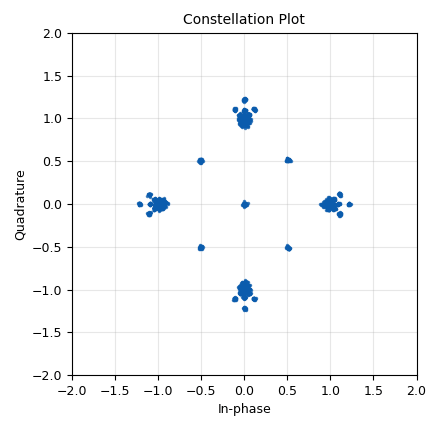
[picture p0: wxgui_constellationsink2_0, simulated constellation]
<?xml version='1.0' encoding='utf-8'?>
<flow_graph>
<block>
<key>options</key>
<param><key>id</key><value>top_block</value></param>
<param><key>generate_options</key><value>wx_gui</value></param>
<param><key>category</key><value>Custom</value></param>
</block>
<block>
<key>variable</key>
<param><key>id</key><value>samp_rate</value></param>
<param><key>value</key><value>32000</value></param>
</block>
<block>
<key>blocks_file_sink</key>
<param><key>id</key><value>blocks_file_sink_1</value></param>
<param><key>_enabled</key><value>False</value></param>
<param><key>file</key><value>/home/kaushik/src/gr-tutorial/gr-demod/qpsk_demod_source.dat</value></param>
<param><key>type</key><value>byte</value></param>
<param><key>unbuffered</key><value>True</value></param>
</block>
<block>
<key>blocks_head</key>
<param><key>id</key><value>blocks_head_0_0</value></param>
<param><key>_enabled</key><value>False</value></param>
<param><key>type</key><value>byte</value></param>
<param><key>num_items</key><value>100</value></param>
</block>
<block>
<key>variable_slider</key>
<param><key>id</key><value>noise_amplitude</value></param>
<param><key>label</key><value></value></param>
<param><key>value</key><value>.01</value></param>
<param><key>min</key><value>0</value></param>
<param><key>max</key><value>1</value></param>
<param><key>num_steps</key><value>100</value></param>
<param><key>style</key><value>wx.SL_HORIZONTAL</value></param>
<param><key>converver</key><value>float_converter</value></param>
</block>
<block>
<key>blocks_file_sink</key>
<param><key>id</key><value>blocks_file_sink_0_0</value></param>
<param><key>_enabled</key><value>False</value></param>
<param><key>file</key><value>/home/kaushik/src/gr-tutorial/gr-demod/qpsk_demod_iq.dat</value></param>
<param><key>type</key><value>complex</value></param>
<param><key>unbuffered</key><value>True</value></param>
</block>
<block>
<key>blocks_head</key>
<param><key>id</key><value>blocks_head_1</value></param>
<param><key>_enabled</key><value>False</value></param>
<param><key>type</key><value>complex</value></param>
<param><key>num_items</key><value>10000</value></param>
</block>
<block>
<key>digital_psk_mod</key>
<param><key>id</key><value>digital_psk_mod_0</value></param>
<param><key>constellation_points</key><value>4</value></param>
<param><key>mod_code</key><value>"gray"</value></param>
<param><key>differential</key><value>True</value></param>
<param><key>samples_per_symbol</key><value>2</value></param>
<param><key>excess_bw</key><value>.35</value></param>
</block>
<block>
<key>analog_noise_source_x</key>
<param><key>id</key><value>analog_noise_source_x_0</value></param>
<param><key>type</key><value>complex</value></param>
<param><key>noise_type</key><value>analog.GR_GAUSSIAN</value></param>
<param><key>amp</key><value>noise_amplitude</value></param>
<param><key>seed</key><value>0</value></param>
</block>
<block>
<key>blocks_throttle</key>
<param><key>id</key><value>blocks_throttle_0</value></param>
<param><key>type</key><value>complex</value></param>
<param><key>samples_per_second</key><value>samp_rate</value></param>
</block>
<block>
<key>analog_random_source_x</key>
<param><key>id</key><value>analog_random_source_x_0</value></param>
<param><key>type</key><value>byte</value></param>
<param><key>min</key><value>0</value></param>
<param><key>max</key><value>4</value></param>
<param><key>num_samps</key><value>10000</value></param>
<param><key>repeat</key><value>True</value></param>
</block>
<block>
<key>wxgui_constellationsink2</key>
<param><key>id</key><value>wxgui_constellationsink2_0</value></param>
<param><key>title</key><value>Constellation Plot</value></param>
<param><key>samp_rate</key><value>samp_rate</value></param>
<param><key>frame_rate</key><value>5</value></param>
<param><key>const_size</key><value>2048</value></param>
<param><key>M</key><value>4</value></param>
<param><key>theta</key><value>0</value></param>
<param><key>loop_bw</key><value>6.28/100.0</value></param>
<param><key>fmax</key><value>0.06</value></param>
<param><key>mu</key><value>0.5</value></param>
<param><key>gain_mu</key><value>0.005</value></param>
<param><key>symbol_rate</key><value>samp_rate/2.</value></param>
<param><key>omega_limit</key><value>0.005</value></param>
</block>
<block>
<key>blocks_file_sink</key>
<param><key>id</key><value>blocks_file_sink_0</value></param>
<param><key>file</key><value>/home/kaushik/src/gr-tutorial/grc/qpsk_demod_sink.dat</value></param>
<param><key>type</key><value>byte</value></param>
<param><key>unbuffered</key><value>True</value></param>
</block>
<block>
<key>blocks_add_xx</key>
<param><key>id</key><value>blocks_add_xx_0</value></param>
<param><key>type</key><value>complex</value></param>
</block>
<block>
<key>blocks_head</key>
<param><key>id</key><value>blocks_head_0</value></param>
<param><key>type</key><value>byte</value></param>
<param><key>num_items</key><value>100</value></param>
</block>
<block>
<key>tutorial_my_qpsk_demod_cb</key>
<param><key>id</key><value>tutorial_my_qpsk_demod_cb_0</value></param>
<param><key>Gray_code</key><value>True</value></param>
<param><key>differential_coding</key><value>True</value></param>
</block>
<connection><source_block_id>digital_psk_mod_0</source_block_id><sink_block_id>blocks_add_xx_0</sink_block_id><source_key>0</source_key><sink_key>0</sink_key></connection>
<connection><source_block_id>blocks_head_0</source_block_id><sink_block_id>blocks_file_sink_0</sink_block_id><source_key>0</source_key><sink_key>0</sink_key></connection>
<connection><source_block_id>analog_noise_source_x_0</source_block_id><sink_block_id>blocks_add_xx_0</sink_block_id><source_key>0</source_key><sink_key>1</sink_key></connection>
<connection><source_block_id>analog_random_source_x_0</source_block_id><sink_block_id>digital_psk_mod_0</sink_block_id><source_key>0</source_key><sink_key>0</sink_key></connection>
<connection><source_block_id>analog_random_source_x_0</source_block_id><sink_block_id>blocks_head_0_0</sink_block_id><source_key>0</source_key><sink_key>0</sink_key></connection>
<connection><source_block_id>blocks_head_0_0</source_block_id><sink_block_id>blocks_file_sink_1</sink_block_id><source_key>0</source_key><sink_key>0</sink_key></connection>
<connection><source_block_id>blocks_throttle_0</source_block_id><sink_block_id>wxgui_constellationsink2_0</sink_block_id><source_key>0</source_key><sink_key>0</sink_key></connection>
<connection><source_block_id>digital_psk_mod_0</source_block_id><sink_block_id>blocks_head_1</sink_block_id><source_key>0</source_key><sink_key>0</sink_key></connection>
<connection><source_block_id>blocks_head_1</source_block_id><sink_block_id>blocks_file_sink_0_0</sink_block_id><source_key>0</source_key><sink_key>0</sink_key></connection>
<connection><source_block_id>blocks_add_xx_0</source_block_id><sink_block_id>blocks_throttle_0</sink_block_id><source_key>0</source_key><sink_key>0</sink_key></connection>
<connection><source_block_id>blocks_add_xx_0</source_block_id><sink_block_id>tutorial_my_qpsk_demod_cb_0</sink_block_id><source_key>0</source_key><sink_key>0</sink_key></connection>
<connection><source_block_id>tutorial_my_qpsk_demod_cb_0</source_block_id><sink_block_id>blocks_head_0</sink_block_id><source_key>0</source_key><sink_key>0</sink_key></connection>
</flow_graph>
